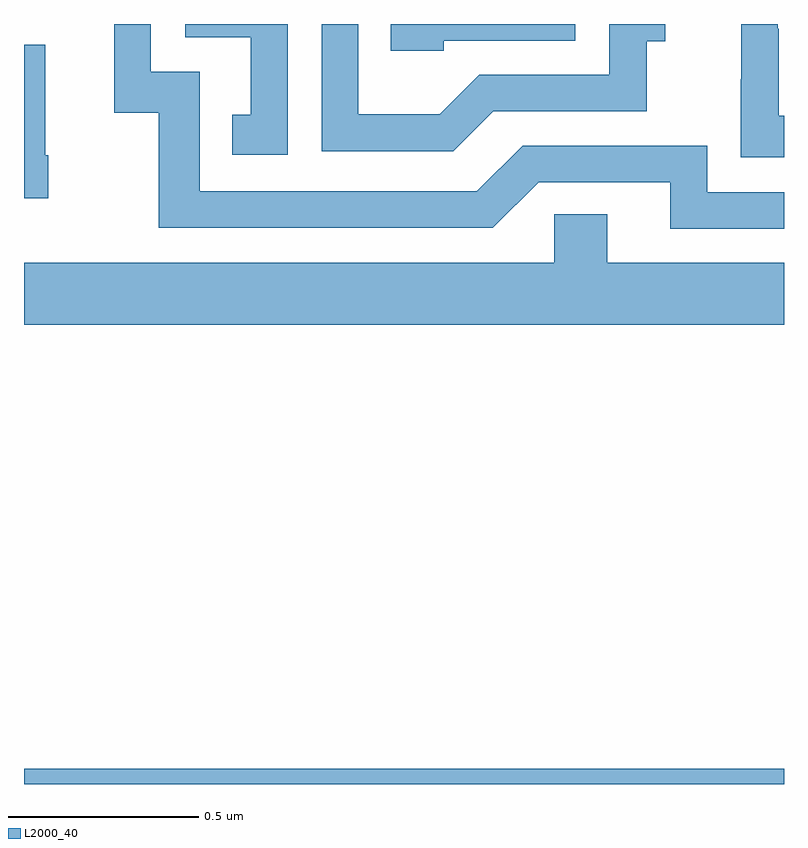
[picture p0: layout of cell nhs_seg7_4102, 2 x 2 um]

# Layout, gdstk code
import gdstk
lib = gdstk.Library(unit=1e-6, precision=1e-09)
def R(c, l, rs):  # rectangles x0, y0, x1, y1
    for r in rs: c.add(gdstk.rectangle(r[:2], r[2:], *l))
def P(c, l, *ps):  # polygons
    for p in ps: c.add(gdstk.Polygon(p, *l))
L2000_40 = (2000, 40)

nhs_seg7_4102 = lib.new_cell('nhs_seg7_4102')
R(nhs_seg7_4102, L2000_40, [(167,1074,169,1074.04)])
P(nhs_seg7_4102, L2000_40, [(168.235,1075.77),(168.639,1075.77),(168.639,1075.955),(168.688,1075.955),(168.688,1076),(168.54,1076),(168.54,1075.866),(168.198,1075.866),(168.094,1075.762),(167.88,1075.762),(167.88,1076),(167.784,1076),(167.784,1075.665),(168.13,1075.665)],
  [(167.694,1076),(167.424,1076),(167.424,1075.965),(167.597,1075.965),(167.597,1075.761),(167.548,1075.761),(167.548,1075.656),(167.694,1075.656)],
  [(169,1075.557),(168.798,1075.557),(168.798,1075.68),(168.312,1075.68),(168.192,1075.56),(167.463,1075.56),(167.463,1075.875),(167.334,1075.875),(167.334,1076),(167.237,1076),(167.237,1075.767),(167.355,1075.767),(167.355,1075.464),(168.234,1075.464),(168.354,1075.584),(168.701,1075.584),(168.701,1075.461),(169,1075.461)],
  [(168.105,1075.956),(168.45,1075.956),(168.45,1076),(167.965,1076),(167.965,1075.929),(168.105,1075.929)],
  [(169,1075.759),(168.986,1075.759),(168.986,1075.988),(168.984,1075.988),(168.984,1076),(168.887,1076),(168.887,1075.855),(168.886,1075.855),(168.886,1075.649),(169,1075.649)],
  [(167.064,1075.654),(167.056,1075.654),(167.056,1075.945),(167,1075.945),(167,1075.542),(167.064,1075.542)],
  [(169,1075.372),(168.535,1075.372),(168.535,1075.499),(168.396,1075.499),(168.396,1075.372),(167,1075.372),(167,1075.208),(169,1075.208)])

lib.write_gds('nhs_seg7_4102.gds')
